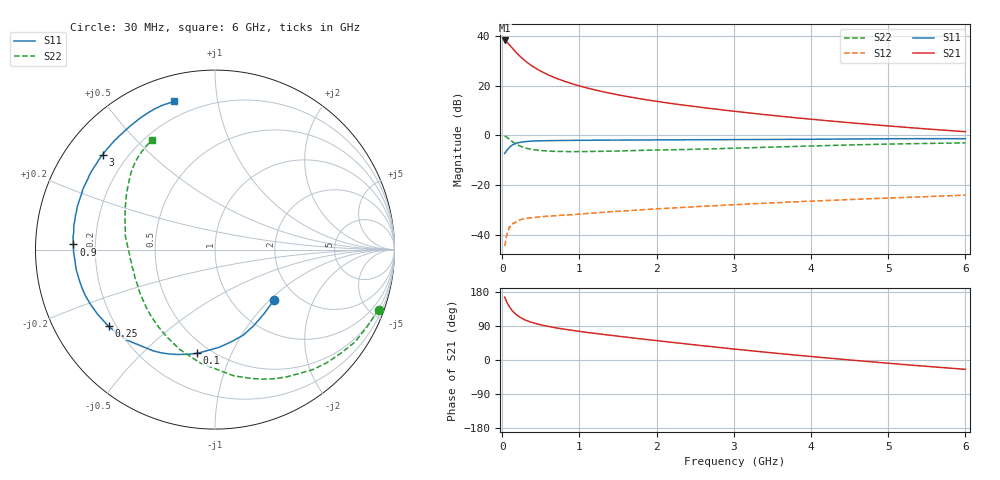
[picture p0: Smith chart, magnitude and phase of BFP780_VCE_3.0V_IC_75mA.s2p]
! Infineon Technologies  Discrete & RF Semiconductors
! BFP780
! VCE =  3.0 V,  IC =  75 mA
! Common Emitter S-Parameters:  Jul 2015
# GHz  S  MA  R  50
!  f  S11  S21  S12  S22
! GHz  MAG  ANG  MAG  ANG  MAG  ANG  MAG  ANG
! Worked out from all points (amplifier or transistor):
!   75 points, 30 MHz to 6 GHz, reference 50 ohm
!   highest |S21| = 38.1 dB at 30 MHz (marker M1)
!   |S21| within 3 dB of that: start of sweep to 127.6 MHz
!   unconditionally stable (mu >= 1): 1.829 GHz to end of sweep
!   at 150 MHz: K = 0.14, MSG = 34.9 dB, |S12| = -35.4 dB
!   at 2.3 GHz: K = 1.11, MAG = 18.7 dB, |S12| = -29.0 dB
!   at 6 GHz: K = 1.28, MAG = 9.6 dB, |S12| = -24.1 dB
!   S11 on the Smith chart (normalised r, x): 30 MHz: 1.53, -1.06; 100 MHz: 0.42, -0.75; 250 MHz: 0.17, -0.31; 900 MHz: 0.12, +0.02; 3 GHz: 0.11, +0.36; 6 GHz: 0.12, +0.76
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0.03  0.4326 -40.8  80.72 165.7  0.0059 72.4  0.971 -20.2
0.05  0.4751 -62.8  76.85 156.4  0.0089 69.9  0.9345 -33.4
0.06  0.5016 -71.6  74.56 152.4  0.0101 72.0  0.9091 -39.3
0.08  0.5446 -87.5  69.41 144.7  0.0125 57.2  0.8622 -50.9
0.1  0.5868 -99.8  64.04 138.2  0.0143 53.6  0.8127 -60.9
0.12  0.6213 -109.9  58.95 132.5  0.0158 48.6  0.7683 -70.0
0.15  0.6608 -121.4  52.13 125.6  0.0169 44.3  0.7101 -81.7
0.2  0.7067 -134.8  42.96 116.8  0.0192 35.4  0.6376 -97.3
0.25  0.7311 -144.2  36.22 110.4  0.0204 32.1  0.5905 -109.3
0.3  0.7465 -151.1  31.02 105.4  0.0212 29.3  0.5552 -119.0
0.35  0.7582 -156.5  27.07 101.4  0.0217 27.3  0.5317 -126.8
0.45  0.7711 -164.0  21.48 95.3  0.0226 25.0  0.5039 -138.4
0.6  0.7814 -171.8  16.3 88.5  0.0237 24.3  0.4823 -150.5
0.9  0.7894 177.9  10.92 78.4  0.0253 24.3  0.469 -165.1
1.1  0.7933 172.8  8.922 72.8  0.0268 24.8  0.4715 -171.5
1.5  0.8003 164.6  6.511 62.9  0.0297 26.1  0.4834 179.3
2.1  0.8095 154.1  4.568 48.8  0.0338 26.6  0.5078 169.4
3  0.82 139.8  3.051 28.9  0.0402 25.8  0.5499 155.4
3.1  0.8209 138.3  2.929 26.9  0.0408 25.5  0.5556 154.0
4.1  0.8349 124.5  2.038 7.3  0.0481 22.1  0.6152 141.0
5.1  0.8531 113.3  1.502 -10.2  0.0554 17.7  0.6694 129.8
6  0.8556 105.3  1.182 -24.6  0.0626 12.7  0.7052 119.8
